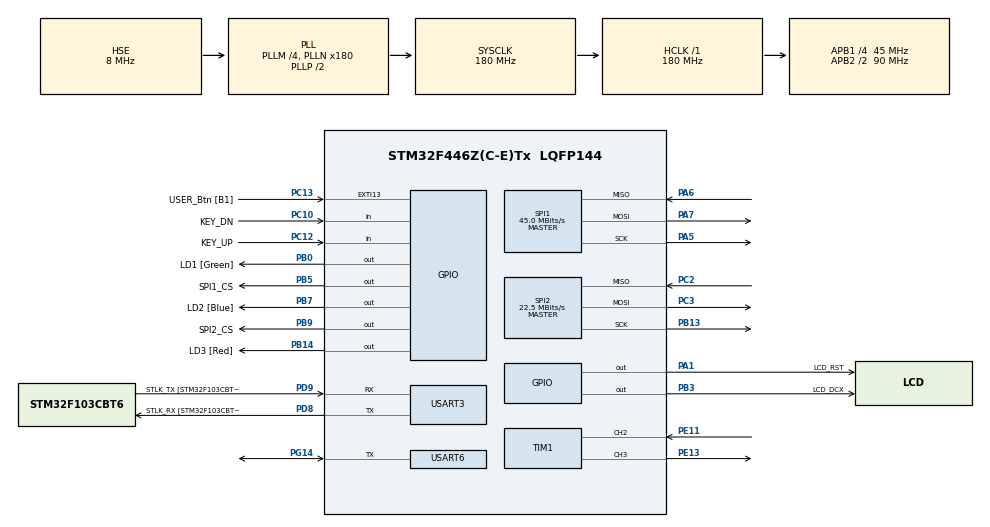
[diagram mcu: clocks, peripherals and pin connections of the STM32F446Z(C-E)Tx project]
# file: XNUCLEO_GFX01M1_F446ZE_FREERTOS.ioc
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Dma.Request0=USART6_RX
Dma.Request1=USART6_TX
Dma.Request2=SPI2_RX
Dma.Request3=SPI2_TX
Dma.Request4=SPI1_TX
Dma.Request5=TIM1_CH2
Dma.Request6=TIM1_CH3
Dma.SPI1_TX.4.Direction=DMA_MEMORY_TO_PERIPH
Dma.SPI1_TX.4.FIFOMode=DMA_FIFOMODE_DISABLE
Dma.SPI1_TX.4.Instance=DMA2_Stream3
Dma.SPI1_TX.4.MemDataAlignment=DMA_MDATAALIGN_BYTE
Dma.SPI1_TX.4.MemInc=DMA_MINC_ENABLE
Dma.SPI1_TX.4.Mode=DMA_NORMAL
Dma.SPI1_TX.4.PeriphDataAlignment=DMA_PDATAALIGN_BYTE
Dma.SPI1_TX.4.PeriphInc=DMA_PINC_DISABLE
Dma.SPI1_TX.4.Priority=DMA_PRIORITY_HIGH
Dma.SPI2_RX.2.Direction=DMA_PERIPH_TO_MEMORY
Dma.SPI2_RX.2.FIFOMode=DMA_FIFOMODE_DISABLE
Dma.SPI2_RX.2.Instance=DMA1_Stream3
Dma.SPI2_RX.2.MemDataAlignment=DMA_MDATAALIGN_BYTE
Dma.SPI2_RX.2.MemInc=DMA_MINC_ENABLE
Dma.SPI2_RX.2.Mode=DMA_NORMAL
Dma.SPI2_RX.2.PeriphDataAlignment=DMA_PDATAALIGN_BYTE
Dma.SPI2_RX.2.PeriphInc=DMA_PINC_DISABLE
Dma.SPI2_RX.2.Priority=DMA_PRIORITY_HIGH
Dma.SPI2_TX.3.Direction=DMA_MEMORY_TO_PERIPH
Dma.SPI2_TX.3.FIFOMode=DMA_FIFOMODE_DISABLE
Dma.SPI2_TX.3.Instance=DMA1_Stream4
Dma.SPI2_TX.3.MemDataAlignment=DMA_MDATAALIGN_BYTE
Dma.SPI2_TX.3.MemInc=DMA_MINC_ENABLE
Dma.SPI2_TX.3.Mode=DMA_NORMAL
Dma.SPI2_TX.3.PeriphDataAlignment=DMA_PDATAALIGN_BYTE
Dma.SPI2_TX.3.PeriphInc=DMA_PINC_DISABLE
Dma.SPI2_TX.3.Priority=DMA_PRIORITY_HIGH
Dma.TIM1_CH2.5.Direction=DMA_PERIPH_TO_MEMORY
Dma.TIM1_CH2.5.FIFOMode=DMA_FIFOMODE_DISABLE
Dma.TIM1_CH2.5.Instance=DMA2_Stream2
Dma.TIM1_CH2.5.MemDataAlignment=DMA_MDATAALIGN_HALFWORD
Dma.TIM1_CH2.5.MemInc=DMA_MINC_ENABLE
Dma.TIM1_CH2.5.Mode=DMA_NORMAL
Dma.TIM1_CH2.5.PeriphDataAlignment=DMA_PDATAALIGN_HALFWORD
Dma.TIM1_CH2.5.PeriphInc=DMA_PINC_DISABLE
Dma.TIM1_CH2.5.Priority=DMA_PRIORITY_MEDIUM
Dma.TIM1_CH3.6.Direction=DMA_MEMORY_TO_PERIPH
Dma.TIM1_CH3.6.FIFOMode=DMA_FIFOMODE_DISABLE
Dma.TIM1_CH3.6.Instance=DMA2_Stream6
Dma.TIM1_CH3.6.MemDataAlignment=DMA_MDATAALIGN_HALFWORD
Dma.TIM1_CH3.6.MemInc=DMA_MINC_ENABLE
Dma.TIM1_CH3.6.Mode=DMA_NORMAL
Dma.TIM1_CH3.6.PeriphDataAlignment=DMA_PDATAALIGN_HALFWORD
Dma.TIM1_CH3.6.PeriphInc=DMA_PINC_DISABLE
Dma.TIM1_CH3.6.Priority=DMA_PRIORITY_MEDIUM
Dma.USART6_RX.0.Direction=DMA_PERIPH_TO_MEMORY
Dma.USART6_RX.0.FIFOMode=DMA_FIFOMODE_DISABLE
Dma.USART6_RX.0.Instance=DMA2_Stream1
Dma.USART6_RX.0.MemDataAlignment=DMA_MDATAALIGN_BYTE
Dma.USART6_RX.0.MemInc=DMA_MINC_ENABLE
Dma.USART6_RX.0.Mode=DMA_NORMAL
Dma.USART6_RX.0.PeriphDataAlignment=DMA_PDATAALIGN_BYTE
Dma.USART6_RX.0.PeriphInc=DMA_PINC_DISABLE
Dma.USART6_RX.0.Priority=DMA_PRIORITY_MEDIUM
Dma.USART6_TX.1.Direction=DMA_MEMORY_TO_PERIPH
Dma.USART6_TX.1.FIFOMode=DMA_FIFOMODE_DISABLE
Dma.USART6_TX.1.Instance=DMA2_Stream7
Dma.USART6_TX.1.MemDataAlignment=DMA_MDATAALIGN_BYTE
Dma.USART6_TX.1.MemInc=DMA_MINC_ENABLE
Dma.USART6_TX.1.Mode=DMA_NORMAL
Dma.USART6_TX.1.PeriphDataAlignment=DMA_PDATAALIGN_BYTE
Dma.USART6_TX.1.PeriphInc=DMA_PINC_DISABLE
Dma.USART6_TX.1.Priority=DMA_PRIORITY_MEDIUM
FREERTOS.Queues01=sensor_queue,1,uint16_t,0,Dynamic,NULL,NULL
FREERTOS.Tasks01=sensor_task,24,512,start_sensor_task,Default,NULL,Dynamic,NULL,NULL;TouchGFXTask,24,512,TouchGFX_Task,As external,NULL,Dynamic,NULL,NULL
FREERTOS.configENABLE_FPU=1
FREERTOS.configMINIMAL_STACK_SIZE=512
FREERTOS.configRECORD_STACK_HIGH_ADDRESS=1
FREERTOS.configTOTAL_HEAP_SIZE=70000
FREERTOS.configUSE_NEWLIB_REENTRANT=1
Mcu.Family=STM32F4
Mcu.Name=STM32F446Z(C-E)Tx
Mcu.Package=LQFP144
NVIC.DMA1_Stream3_IRQn=true\:5\:0\:false\:false\:true\:true\:false\:true\:true
NVIC.DMA1_Stream4_IRQn=true\:5\:0\:false\:false\:true\:true\:false\:true\:true
NVIC.DMA2_Stream1_IRQn=true\:5\:0\:false\:false\:true\:true\:false\:true\:true
NVIC.DMA2_Stream2_IRQn=true\:5\:0\:false\:false\:true\:true\:false\:true\:true
NVIC.DMA2_Stream3_IRQn=true\:5\:0\:false\:false\:true\:true\:false\:true\:true
NVIC.DMA2_Stream6_IRQn=true\:5\:0\:false\:false\:true\:true\:false\:true\:true
NVIC.DMA2_Stream7_IRQn=true\:5\:0\:false\:false\:true\:false\:false\:true\:true
NVIC.PriorityGroup=NVIC_PRIORITYGROUP_4
NVIC.TIM1_CC_IRQn=true\:5\:0\:false\:false\:true\:true\:true\:true\:true
NVIC.TIM3_IRQn=true\:5\:0\:false\:false\:true\:true\:true\:true\:true
NVIC.TIM6_DAC_IRQn=true\:15\:0\:false\:false\:true\:false\:false\:true\:true
NVIC.TimeBase=TIM6_DAC_IRQn
NVIC.TimeBaseIP=TIM6
NVIC.USART6_IRQn=true\:5\:0\:false\:false\:true\:true\:true\:true\:true
PA1.GPIO_Label=LCD_RST
PA1.GPIO_Speed=GPIO_SPEED_FREQ_HIGH
PA1.PinState=GPIO_PIN_SET
PA1.Signal=GPIO_Output
PA13.GPIO_Label=TMS
PA13.Mode=Serial_Wire
PA13.Signal=SYS_JTMS-SWDIO
PA14.GPIO_Label=TCK
PA14.Mode=Serial_Wire
PA14.Signal=SYS_JTCK-SWCLK
PA5.Mode=Full_Duplex_Master
PA5.Signal=SPI1_SCK
PA6.Mode=Full_Duplex_Master
PA6.Signal=SPI1_MISO
PA7.Mode=Full_Duplex_Master
PA7.Signal=SPI1_MOSI
PB0.GPIO_Label=LD1 [Green]
PB0.Signal=GPIO_Output
PB13.Mode=Full_Duplex_Master
PB13.Signal=SPI2_SCK
PB14.GPIO_Label=LD3 [Red]
PB14.Signal=GPIO_Output
PB3.GPIO_Label=LCD_DCX
PB3.GPIO_Speed=GPIO_SPEED_FREQ_HIGH
PB3.PinState=GPIO_PIN_SET
PB3.Signal=GPIO_Output
PB5.GPIO_Label=SPI1_CS
PB5.GPIO_Speed=GPIO_SPEED_FREQ_VERY_HIGH
PB5.PinState=GPIO_PIN_SET
PB5.Signal=GPIO_Output
PB7.GPIO_Label=LD2 [Blue]
PB7.Signal=GPIO_Output
PB9.GPIO_Label=SPI2_CS
PB9.GPIO_Speed=GPIO_SPEED_FREQ_VERY_HIGH
PB9.PinState=GPIO_PIN_SET
PB9.Signal=GPIO_Output
PC10.GPIO_Label=KEY_DN
PC10.Signal=GPIO_Input
PC12.GPIO_Label=KEY_UP
PC12.Signal=GPIO_Input
PC13.GPIO_Label=USER_Btn [B1]
PC13.Signal=GPXTI13
PC14-OSC32_IN.Mode=LSE-External-Oscillator
PC14-OSC32_IN.Signal=RCC_OSC32_IN
PC15-OSC32_OUT.Mode=LSE-External-Oscillator
PC15-OSC32_OUT.Signal=RCC_OSC32_OUT
PC2.Mode=Full_Duplex_Master
PC2.Signal=SPI2_MISO
PC3.Mode=Full_Duplex_Master
PC3.Signal=SPI2_MOSI
PD8.GPIO_Label=STLK_RX [STM32F103CBT6_PA3]
PD8.Mode=Asynchronous
PD8.Signal=USART3_TX
PD9.GPIO_Label=STLK_TX [STM32F103CBT6_PA2]
PD9.Mode=Asynchronous
PD9.Signal=USART3_RX
PE11.Signal=S_TIM1_CH2
PE13.Signal=S_TIM1_CH3
PG14.Mode=Half_duplex(single_wire_mode)
PG14.Signal=USART6_TX
PH0-OSC_IN.GPIO_Label=MCO [STM32F103CBT6_PA8]
PH0-OSC_IN.Mode=HSE-External-Clock-Source
PH0-OSC_IN.Signal=RCC_OSC_IN
PH1-OSC_OUT.Mode=HSE-External-Clock-Source
PH1-OSC_OUT.Signal=RCC_OSC_OUT
ProjectManager.HeapSize=0x200
ProjectManager.StackSize=0x400
ProjectManager.TargetToolchain=STM32CubeIDE
RCC.48MHZClocksFreq_Value=24000000
RCC.AHBFreq_Value=180000000
RCC.APB1CLKDivider=RCC_HCLK_DIV4
RCC.APB1Freq_Value=45000000
RCC.APB1TimFreq_Value=90000000
RCC.APB2CLKDivider=RCC_HCLK_DIV2
RCC.APB2Freq_Value=90000000
RCC.APB2TimFreq_Value=180000000
RCC.CortexFreq_Value=180000000
RCC.HCLKFreq_Value=180000000
RCC.HSE_VALUE=8000000
RCC.HSI_VALUE=16000000
RCC.PLLM=4
RCC.PLLMUL=RCC_PLL_MUL9
RCC.PLLN=180
RCC.PLLQ=7
RCC.PLLSourceVirtual=RCC_PLLSOURCE_HSE
RCC.PRESCALERUSB=RCC_USBCLKSOURCE_PLL_DIV1_5
RCC.SYSCLKFreq_VALUE=180000000
RCC.SYSCLKSource=RCC_SYSCLKSOURCE_PLLCLK
RCC.SYSCLKSourceVirtual=RCC_SYSCLKSOURCE_PLLCLK
RCC.USBFreq_Value=51428571.428571425
RCC.VCOOutputFreq_Value=360000000
SH.S_TIM1_CH2.0=TIM1_CH2,Input_Capture2_from_TI2
SH.S_TIM1_CH3.0=TIM1_CH3,PWM Generation3 CH3
SPI1.CalculateBaudRate=45.0 MBits/s
SPI1.Direction=SPI_DIRECTION_2LINES
SPI1.Mode=SPI_MODE_MASTER
SPI1.VirtualType=VM_MASTER
SPI2.CalculateBaudRate=22.5 MBits/s
SPI2.Direction=SPI_DIRECTION_2LINES
SPI2.Mode=SPI_MODE_MASTER
SPI2.VirtualType=VM_MASTER
STMicroelectronics.X-CUBE-TOUCHGFX.4.24.1.ApplicationCcGraphicsJjApplication=TouchGFXOoGenerator
STMicroelectronics.X-CUBE-TOUCHGFX.4.24.1.tgfx_buffering_strategy=Partial
STMicroelectronics.X-CUBE-TOUCHGFX.4.24.1.tgfx_custom_height=240
STMicroelectronics.X-CUBE-TOUCHGFX.4.24.1.tgfx_custom_width=320
STMicroelectronics.X-CUBE-TOUCHGFX.4.24.1.tgfx_datareader=Enabled
STMicroelectronics.X-CUBE-TOUCHGFX.4.24.1_IsPackSelfContextualization=true
TIM1.Channel-Input_Capture2_from_TI2=TIM_CHANNEL_2
TIM1.Channel-PWM\ Generation3\ CH3=TIM_CHANNEL_3
TIM3.Period=1499
TIM3.Prescaler=3999
USART3.VirtualMode=VM_ASYNC
USART6.VirtualMode=VM_ASYNC
VP_CRC_VS_CRC.Mode=CRC_Activate
VP_FREERTOS_VS_CMSIS_V2.Mode=CMSIS_V2
VP_STMicroelectronics.X-CUBE-TOUCHGFX_VS_GraphicsJjApplication_4.24.1.Mode=GraphicsJjApplication
VP_SYS_VS_tim6.Mode=TIM6
VP_TIM1_VS_ClockSourceINT.Mode=Internal
VP_TIM3_VS_ClockSourceINT.Mode=Internal
board=NUCLEO-F446ZE

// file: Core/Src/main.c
/* USER CODE BEGIN Header */
/**
  ******************************************************************************
  * @file           : main.c
  * @brief          : Main program body
  ******************************************************************************
  * @attention
  *
  * Copyright (c) 2025 STMicroelectronics.
  * All rights reserved.
  *
  * This software is licensed under terms that can be found in the LICENSE file
  * in the root directory of this software component.
  * If no LICENSE file comes with this software, it is provided AS-IS.
  *
  ******************************************************************************
  */
/* USER CODE END Header */
#include "main.h"
#include "cmsis_os.h"
#include "crc.h"
#include "dma.h"
#include "spi.h"
#include "tim.h"
#include "usart.h"
#include "gpio.h"
#include "app_touchgfx.h"

/* USER CODE BEGIN Includes */
#include "gfx01m1_lcd.h"
#include "DS18B20.h"
/* USER CODE END Includes */

void SystemClock_Config(void);
void MX_FREERTOS_Init(void);

int main(void)
{

  /* MCU Configuration--------------------------------------------------------*/

  /* Reset of all peripherals, Initializes the Flash interface and the Systick. */
  HAL_Init();

  /* Configure the system clock */
  SystemClock_Config();

  /* Initialize all configured peripherals */
  MX_GPIO_Init();
  MX_DMA_Init();
  MX_USART3_UART_Init();
  MX_SPI1_Init();
  MX_SPI2_Init();
  MX_USART6_UART_Init();
  MX_CRC_Init();
  MX_TIM3_Init();
  MX_TIM1_Init();
  MX_TouchGFX_Init();
  /* Call PreOsInit function */
  MX_TouchGFX_PreOSInit();
  /* USER CODE BEGIN 2 */

  DS18B20_Init();
//  gfx01m1_lcd_init();
  /* USER CODE END 2 */

  /* Init scheduler */
  osKernelInitialize();

  /* Call init function for freertos objects (in cmsis_os2.c) */
  MX_FREERTOS_Init();

  /* Start scheduler */
  osKernelStart();

  /* We should never get here as control is now taken by the scheduler */

  /* Infinite loop */
  while (1)
  {

  }
}

void SystemClock_Config(void)
{
  RCC_OscInitTypeDef RCC_OscInitStruct = {0};
  RCC_ClkInitTypeDef RCC_ClkInitStruct = {0};

  /** Configure the main internal regulator output voltage
  */
  __HAL_RCC_PWR_CLK_ENABLE();
  __HAL_PWR_VOLTAGESCALING_CONFIG(PWR_REGULATOR_VOLTAGE_SCALE1);

  /** Initializes the RCC Oscillators according to the specified parameters
  * in the RCC_OscInitTypeDef structure.
  */
  RCC_OscInitStruct.OscillatorType = RCC_OSCILLATORTYPE_HSE;
  RCC_OscInitStruct.HSEState = RCC_HSE_BYPASS;
  RCC_OscInitStruct.PLL.PLLState = RCC_PLL_ON;
  RCC_OscInitStruct.PLL.PLLSource = RCC_PLLSOURCE_HSE;
  RCC_OscInitStruct.PLL.PLLM = 4;
  RCC_OscInitStruct.PLL.PLLN = 180;
  RCC_OscInitStruct.PLL.PLLP = RCC_PLLP_DIV2;
  RCC_OscInitStruct.PLL.PLLQ = 7;
  RCC_OscInitStruct.PLL.PLLR = 2;
  if (HAL_RCC_OscConfig(&RCC_OscInitStruct) != HAL_OK)
  {
    Error_Handler();
  }

  /** Activate the Over-Drive mode
  */
  if (HAL_PWREx_EnableOverDrive() != HAL_OK)
  {
    Error_Handler();
  }

  /** Initializes the CPU, AHB and APB buses clocks
  */
  RCC_ClkInitStruct.ClockType = RCC_CLOCKTYPE_HCLK|RCC_CLOCKTYPE_SYSCLK
                              |RCC_CLOCKTYPE_PCLK1|RCC_CLOCKTYPE_PCLK2;
  RCC_ClkInitStruct.SYSCLKSource = RCC_SYSCLKSOURCE_PLLCLK;
  RCC_ClkInitStruct.AHBCLKDivider = RCC_SYSCLK_DIV1;
  RCC_ClkInitStruct.APB1CLKDivider = RCC_HCLK_DIV4;
  RCC_ClkInitStruct.APB2CLKDivider = RCC_HCLK_DIV2;

  if (HAL_RCC_ClockConfig(&RCC_ClkInitStruct, FLASH_LATENCY_5) != HAL_OK)
  {
    Error_Handler();
  }
}

/* USER CODE BEGIN 4 */
extern void touchgfxSignalVSync(void);
/* USER CODE END 4 */

void HAL_TIM_PeriodElapsedCallback(TIM_HandleTypeDef *htim)
{
  if (htim->Instance == TIM6) {
    HAL_IncTick();
  }
  /* USER CODE BEGIN Callback 1 */
  else if (htim->Instance == TIM3)
  {
	  touchgfxSignalVSync();
  }

  /* USER CODE END Callback 1 */
}

void Error_Handler(void)
{
  __disable_irq();
  while (1)
  {
  }
}

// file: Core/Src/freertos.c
/* USER CODE BEGIN Header */
/**
  ******************************************************************************
  * File Name          : freertos.c
  * Description        : Code for freertos applications
  ******************************************************************************
  * @attention
  *
  * Copyright (c) 2025 STMicroelectronics.
  * All rights reserved.
  *
  * This software is licensed under terms that can be found in the LICENSE file
  * in the root directory of this software component.
  * If no LICENSE file comes with this software, it is provided AS-IS.
  *
  ******************************************************************************
  */
/* USER CODE END Header */

#include "FreeRTOS.h"
#include "task.h"
#include "main.h"
#include "cmsis_os.h"

/* USER CODE BEGIN Includes */
#include "DS18B20.h"
/* USER CODE END Includes */

/* USER CODE BEGIN Variables */
TaskHandle_t sensor_taskHandle = NULL;
/* USER CODE END Variables */
/* Definitions for sensor_task */
//osThreadId_t sensor_taskHandle;
//const osThreadAttr_t sensor_task_attributes = {
//  .name = "sensor_task",
//  .stack_size = 512 * 4,
//  .priority = (osPriority_t) osPriorityNormal,
//};
/* Definitions for TouchGFXTask */
osThreadId_t TouchGFXTaskHandle;
const osThreadAttr_t TouchGFXTask_attributes = {
  .name = "TouchGFXTask",
  .stack_size = 512 * 4,
  .priority = (osPriority_t) osPriorityNormal,
};
/* Definitions for sensor_queue */
osMessageQueueId_t sensor_queueHandle;
const osMessageQueueAttr_t sensor_queue_attributes = {
  .name = "sensor_queue"
};

void start_sensor_task(void *argument);
extern void TouchGFX_Task(void *argument);

void MX_FREERTOS_Init(void); /* (MISRA C 2004 rule 8.1) */

void MX_FREERTOS_Init(void) {

  /* Create the queue(s) */
  /* creation of sensor_queue */
  sensor_queueHandle = osMessageQueueNew (1, sizeof(uint16_t), &sensor_queue_attributes);

  /* Create the thread(s) */
  /* creation of sensor_task */
  //sensor_taskHandle = osThreadNew(start_sensor_task, NULL, &sensor_task_attributes);
  if (xTaskCreate(start_sensor_task, "SENSOR", 512, NULL, 5, &sensor_taskHandle) != pdPASS)
  {
	  while(1);
  }

  /* creation of TouchGFXTask */
  TouchGFXTaskHandle = osThreadNew(TouchGFX_Task, NULL, &TouchGFXTask_attributes);

}

void start_sensor_task(void *argument)
{
  /* USER CODE BEGIN start_sensor_task */
  uint16_t Raw_Temp;
  uint32_t ulNotifValue;

  //DS18B20_Generate_Reset();
  //vTaskDelay(pdMS_TO_TICKS(1));
  /* Infinite loop */
  for(;;)
  {
//	  if (ds18b20_read_raw_temp(&raw_temp) == 1)
//	  {
//		  osMessageQueuePut(sensor_queueHandle, &raw_temp, 1, 0);
//	  }

	  DS18B20_Generate_Reset();
	  //xTaskNotifyWait(0, 0xFFFFFFFF, &ulNotifValue, portMAX_DELAY);
	  DS18B20_Idle();
	  if (DS18B20_Get_Presence() <= 510)
	  {
          while(1);
	  }
	  vTaskDelay(pdMS_TO_TICKS(2));

	  DS18B20_Send_Cmd_SkipRom();
	  xTaskNotifyWait(0, 0xFFFFFFFF, &ulNotifValue, portMAX_DELAY);
	  DS18B20_Idle();
	  vTaskDelay(pdMS_TO_TICKS(2));

	  DS18B20_Send_Cmd_ConverT();
	  xTaskNotifyWait(0, 0xFFFFFFFF, &ulNotifValue, portMAX_DELAY);
	  DS18B20_Idle();
	  vTaskDelay(pdMS_TO_TICKS(2));

	  DS18B20_Generate_Reset();
	  //xTaskNotifyWait(0, 0xFFFFFFFF, &ulNotifValue, portMAX_DELAY);
	  DS18B20_Idle();
	  if (DS18B20_Get_Presence() <= 510)
	  {
          while(1);
	  }
	  vTaskDelay(pdMS_TO_TICKS(2));

	  DS18B20_Send_Cmd_SkipRom();
	  xTaskNotifyWait(0, 0xFFFFFFFF, &ulNotifValue, portMAX_DELAY);
	  DS18B20_Idle();
	  vTaskDelay(pdMS_TO_TICKS(2));

	  DS18B20_Send_Cmd_RdScr();
	  xTaskNotifyWait(0, 0xFFFFFFFF, &ulNotifValue, portMAX_DELAY);
	  DS18B20_Idle();
	  vTaskDelay(pdMS_TO_TICKS(2));

	  DS18B20_Read();
	  xTaskNotifyWait(0, 0xFFFFFFFF, &ulNotifValue, portMAX_DELAY);
	  DS18B20_Idle();

	  DS18B20_Update_Data();
	  Raw_Temp = DS18B20_Get_Temp();
	  osMessageQueuePut(sensor_queueHandle, &Raw_Temp, 1, 0);
	  vTaskDelay(pdMS_TO_TICKS(300));
  }
  /* USER CODE END start_sensor_task */
}
